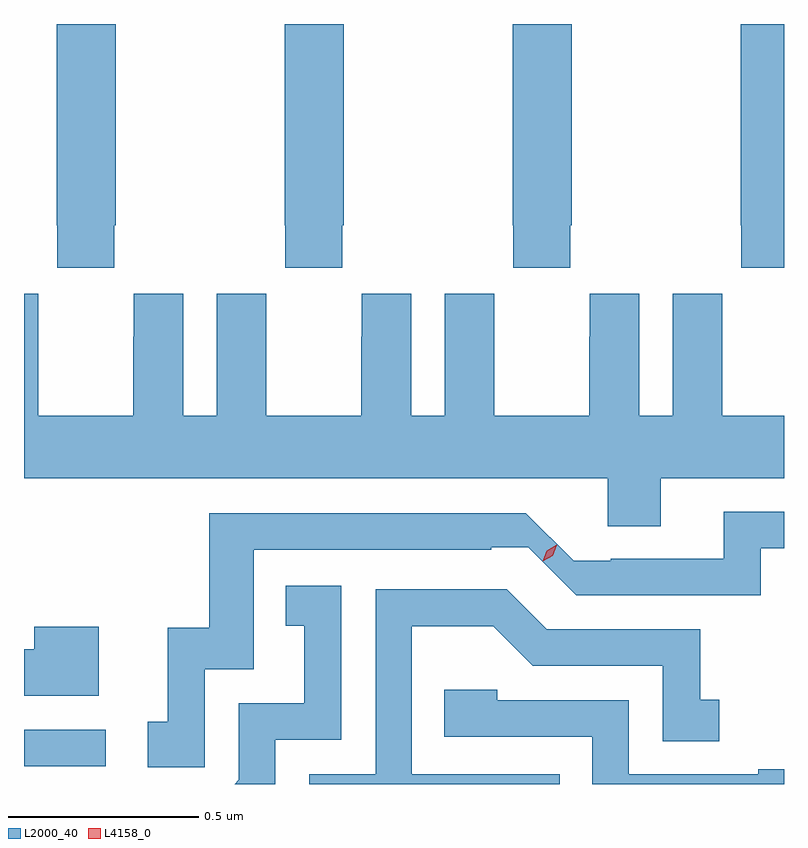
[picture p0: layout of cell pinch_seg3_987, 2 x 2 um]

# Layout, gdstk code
import gdstk
lib = gdstk.Library(unit=1e-6, precision=1e-09)
def R(c, l, rs):  # rectangles x0, y0, x1, y1
    for r in rs: c.add(gdstk.rectangle(r[:2], r[2:], *l))
def P(c, l, *ps):  # polygons
    for p in ps: c.add(gdstk.Polygon(p, *l))
L2000_40 = (2000, 40)
L4158_0 = (4158, 0)

pinch_seg3_987 = lib.new_cell('pinch_seg3_987')
R(pinch_seg3_987, L2000_40, [(492.977,714.81,493.192,714.906)])
P(pinch_seg3_987, L2000_40, [(494.415,716.233),(494.418,716.233),(494.418,716.763),(494.263,716.763),(494.263,716.233),(494.265,716.233),(494.265,716.121),(494.415,716.121)],
  [(494.977,716.763),(494.863,716.763),(494.863,716.233),(494.865,716.233),(494.865,716.121),(494.977,716.121)],
  [(493.215,716.233),(493.218,716.233),(493.218,716.763),(493.063,716.763),(493.063,716.233),(493.065,716.233),(493.065,716.121),(493.215,716.121)],
  [(493.663,716.233),(493.665,716.233),(493.665,716.121),(493.815,716.121),(493.815,716.233),(493.818,716.233),(493.818,716.763),(493.663,716.763)],
  [(494.653,715.568),(494.977,715.568),(494.977,715.732),(494.815,715.732),(494.815,715.94),(494.814,715.94),(494.814,716.053),(494.684,716.053),(494.684,715.732),(494.596,715.732),(494.596,716.053),(494.466,716.053),(494.466,715.94),(494.465,715.94),(494.465,715.732),(494.215,715.732),(494.215,715.94),(494.214,715.94),(494.214,716.053),(494.084,716.053),(494.084,715.732),(493.996,715.732),(493.996,716.053),(493.866,716.053),(493.866,715.94),(493.865,715.94),(493.865,715.732),(493.615,715.732),(493.615,715.94),(493.614,715.94),(493.614,716.053),(493.484,716.053),(493.484,715.732),(493.396,715.732),(493.396,716.053),(493.266,716.053),(493.266,715.94),(493.265,715.94),(493.265,715.732),(493.015,715.732),(493.015,715.94),(493.014,715.94),(493.014,716.053),(492.977,716.053),(492.977,715.568),(494.513,715.568),(494.513,715.441),(494.653,715.441)],
  [(493.452,715.065),(493.581,715.065),(493.581,715.38),(494.207,715.38),(494.207,715.386),(494.304,715.386),(494.43,715.26),(494.916,715.26),(494.916,715.383),(494.977,715.383),(494.977,715.479),(494.819,715.479),(494.819,715.356),(494.521,715.356),(494.521,715.35),(494.424,715.35),(494.298,715.476),(493.465,715.476),(493.465,715.174),(493.355,715.174),(493.355,714.927),(493.302,714.927),(493.302,714.807),(493.452,714.807)],
  [(493.638,714.879),(493.812,714.879),(493.812,715.285),(493.666,715.285),(493.666,715.179),(493.715,715.179),(493.715,714.975),(493.542,714.975),(493.542,714.774),(493.531,714.763),(493.638,714.763)],
  [(494.387,714.789),(493.998,714.789),(493.998,715.178),(494.212,715.178),(494.316,715.074),(494.658,715.074),(494.658,714.876),(494.806,714.876),(494.806,714.985),(494.757,714.985),(494.757,715.17),(494.353,715.17),(494.248,715.275),(493.902,715.275),(493.902,714.789),(493.728,714.789),(493.728,714.763),(494.387,714.763)],
  [(493.174,715.177),(493.004,715.177),(493.004,715.117),(492.977,715.117),(492.977,714.995),(493.174,714.995)],
  [(494.977,714.802),(494.909,714.802),(494.909,714.789),(494.568,714.789),(494.568,714.984),(494.223,714.984),(494.223,715.011),(494.083,715.011),(494.083,714.888),(494.472,714.888),(494.472,714.763),(494.977,714.763)])
P(pinch_seg3_987, L4158_0, [(494.342,715.349),(494.342,715.349),(494.353,715.377),(494.379,715.392),(494.379,715.392),(494.379,715.391),(494.368,715.364),(494.342,715.349)])

lib.write_gds('pinch_seg3_987.gds')
